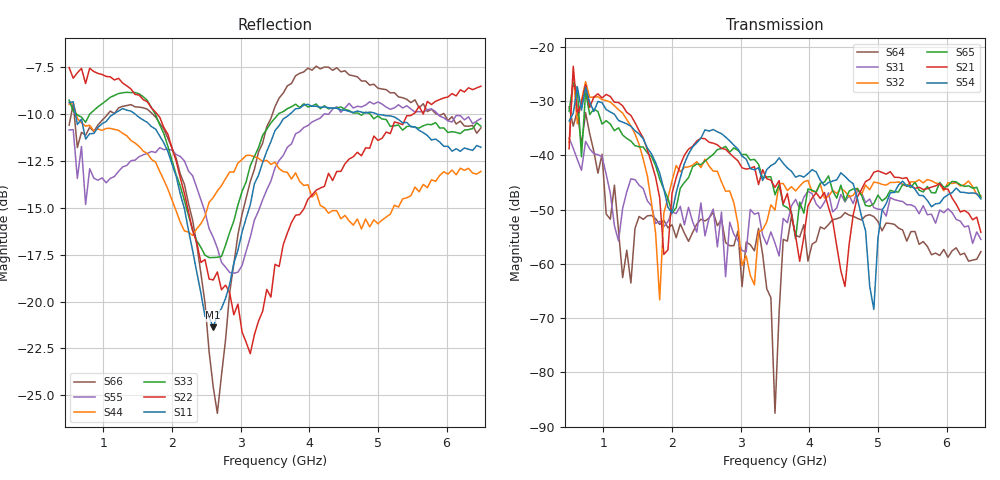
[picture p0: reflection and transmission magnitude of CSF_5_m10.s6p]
!Keysight Technologies,M9804A,MY58100912,A.14.10.03
!Date: Thursday, April 27, 2023 10:28:33
!Correction: S11(C  6-Port  )
!S12(C  6-Port  )
!S13(C  6-Port  )
!S14(C  6-Port  )
!S15(C  6-Port  )
!S16(C  6-Port  )
!S21(C  6-Port  )
!S22(C  6-Port  )
!S23(C  6-Port  )
!S24(C  6-Port  )
!S25(C  6-Port  )
!S26(C  6-Port  )
!S31(C  6-Port  )
!S32(C  6-Port  )
!S33(C  6-Port  )
!S34(C  6-Port  )
!S35(C  6-Port  )
!S36(C  6-Port  )
!S41(C  6-Port  )
!S42(C  6-Port  )
!S43(C  6-Port  )
!S44(C  6-Port  )
!S45(C  6-Port  )
!S46(C  6-Port  )
!S51(C  6-Port  )
!S52(C  6-Port  )
!S53(C  6-Port  )
!S54(C  6-Port  )
!S55(C  6-Port  )
!S56(C  6-Port  )
!S61(C  6-Port  )
!S62(C  6-Port  )
!S63(C  6-Port  )
!S64(C  6-Port  )
!S65(C  6-Port  )
!S66(C  6-Port  )
!S6P File: Measurement: :
# Hz S  RI  R 50
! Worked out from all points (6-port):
!   101 points, 500 MHz to 6.5 GHz, reference 50 ohm
!   strongest paths, dB at 500 MHz, 2 GHz, 3.5 GHz, 5 GHz, 6.5 GHz:
!     S54: -33.7, -50.6, -41.5, -55.3, -48.0
!     S21: -38.8, -47.0, -45.9, -42.8, -54.2
!     S65: -31.8, -50.6, -47.3, -47.3, -47.8
!     S32: -37.7, -44.7, -50.1, -45.1, -47.5
!     S31: -36.8, -50.4, -56.2, -49.9, -55.5
!     S64: -31.1, -52.8, -87.6, -52.2, -57.7
!   lowest |S11| = -21.4 dB at 2.6 GHz (marker M1), VSWR 1.19, Z = 42.4 + j2.27 ohm
!   |S11| at or under -10 dB: 592.8 MHz to 1.143 GHz (550.3 MHz wide, 63.4 % of centre); 1.466 GHz to 3.714 GHz (2.248 GHz wide, 86.8 % of centre); 4.99 GHz to end of sweep
